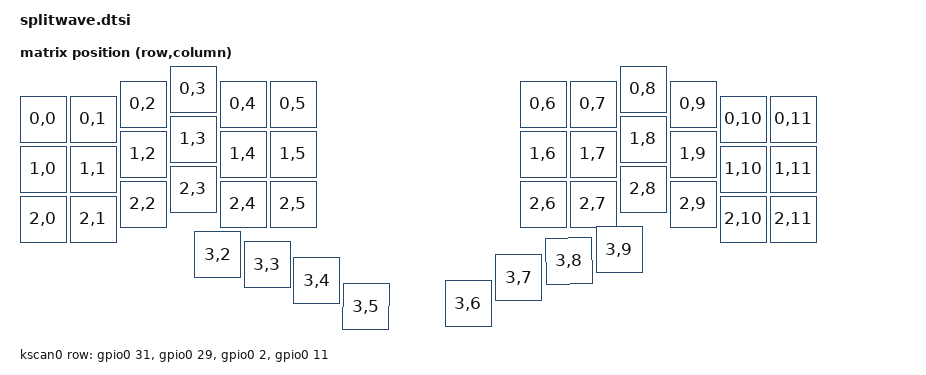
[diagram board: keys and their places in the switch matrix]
#include <dt-bindings/zmk/matrix_transform.h> // Put this with the other includes at the top of your dtsi
#include <physical_layouts.dtsi>

/ {
    chosen {
        zmk,physical-layout = &splitwave_physical_layout;
    };

    kscan0: kscan0 {
        compatible = "zmk,kscan-gpio-matrix";
        diode-direction = "col2row";
        wakeup-source;

        row-gpios
            = <&gpio0 31 (GPIO_ACTIVE_HIGH | GPIO_PULL_DOWN)>
            , <&gpio0 29 (GPIO_ACTIVE_HIGH | GPIO_PULL_DOWN)>
            , <&gpio0 2  (GPIO_ACTIVE_HIGH | GPIO_PULL_DOWN)>
            , <&gpio0 11  (GPIO_ACTIVE_HIGH | GPIO_PULL_DOWN)>
            ;
    };

    default_transform: keymap_transform0 {
        compatible = "zmk,matrix-transform";
        columns = <12>;
        rows = <4>;
        map = <
        RC(0,0) RC(0,1) RC(0,2) RC(0,3) RC(0,4) RC(0,5)          RC(0,6) RC(0,7) RC(0,8) RC(0,9) RC(0,10) RC(0,11)
        RC(1,0) RC(1,1) RC(1,2) RC(1,3) RC(1,4) RC(1,5)          RC(1,6) RC(1,7) RC(1,8) RC(1,9) RC(1,10) RC(1,11)
        RC(2,0) RC(2,1) RC(2,2) RC(2,3) RC(2,4) RC(2,5)          RC(2,6) RC(2,7) RC(2,8) RC(2,9) RC(2,10) RC(2,11)
                        RC(3,2) RC(3,3) RC(3,4) RC(3,5)          RC(3,6) RC(3,7) RC(3,8) RC(3,9)
        >;
    };

    splitwave_physical_layout: splitwave_physical_layout {
        compatible = "zmk,physical-layout";
        display-name = "Default";
        transform = <&default_transform>;
        kscan = <&kscan0>;
        keys  //                     w   h    x    y     rot    rx    ry
            = <&key_physical_attrs 100 100    0   60       0     0     0>
            , <&key_physical_attrs 100 100  100   60       0     0     0>
            , <&key_physical_attrs 100 100  200   30       0     0     0>
            , <&key_physical_attrs 100 100  300    0       0     0     0>
            , <&key_physical_attrs 100 100  400   30       0     0     0>
            , <&key_physical_attrs 100 100  500   30       0     0     0>

            , <&key_physical_attrs 100 100 1000   30       0     0     0>
            , <&key_physical_attrs 100 100 1100   30       0     0     0>
            , <&key_physical_attrs 100 100 1200    0       0     0     0>
            , <&key_physical_attrs 100 100 1300   30       0     0     0>
            , <&key_physical_attrs 100 100 1400   60       0     0     0>
            , <&key_physical_attrs 100 100 1500   60       0     0     0>

            // 2nd row
            , <&key_physical_attrs 100 100    0  160       0     0     0>
            , <&key_physical_attrs 100 100  100  160       0     0     0>
            , <&key_physical_attrs 100 100  200  130       0     0     0>
            , <&key_physical_attrs 100 100  300  100       0     0     0>
            , <&key_physical_attrs 100 100  400  130       0     0     0>
            , <&key_physical_attrs 100 100  500  130       0     0     0>

            , <&key_physical_attrs 100 100 1000  130       0     0     0>
            , <&key_physical_attrs 100 100 1100  130       0     0     0>
            , <&key_physical_attrs 100 100 1200  100       0     0     0>
            , <&key_physical_attrs 100 100 1300  130       0     0     0>
            , <&key_physical_attrs 100 100 1400  160       0     0     0>
            , <&key_physical_attrs 100 100 1500  160       0     0     0>

            // 3rd row
            , <&key_physical_attrs 100 100    0  260       0     0     0>
            , <&key_physical_attrs 100 100  100  260       0     0     0>
            , <&key_physical_attrs 100 100  200  230       0     0     0>
            , <&key_physical_attrs 100 100  300  200       0     0     0>
            , <&key_physical_attrs 100 100  400  230       0     0     0>
            , <&key_physical_attrs 100 100  500  230       0     0     0>

            , <&key_physical_attrs 100 100 1000  230       0     0     0>
            , <&key_physical_attrs 100 100 1100  230       0     0     0>
            , <&key_physical_attrs 100 100 1200  200       0     0     0>
            , <&key_physical_attrs 100 100 1300  230       0     0     0>
            , <&key_physical_attrs 100 100 1400  260       0     0     0>
            , <&key_physical_attrs 100 100 1500  260       0     0     0>

            // 4th row [thumb cluster]
            , <&key_physical_attrs 100 100  350  330      10     0     0>
            , <&key_physical_attrs 100 100  450  350      20     0     0>
            , <&key_physical_attrs 100 100  550  380      30     0     0>
            , <&key_physical_attrs 100 100  650  430      45     0     0>

            , <&key_physical_attrs 100 100  850  430   (-10)     0     0>
            , <&key_physical_attrs 100 100  950  380   (-20)     0     0>
            , <&key_physical_attrs 100 100 1050  350   (-30)     0     0>
            , <&key_physical_attrs 100 100 1150  330   (-45)     0     0>
            
            ;
    };
};
